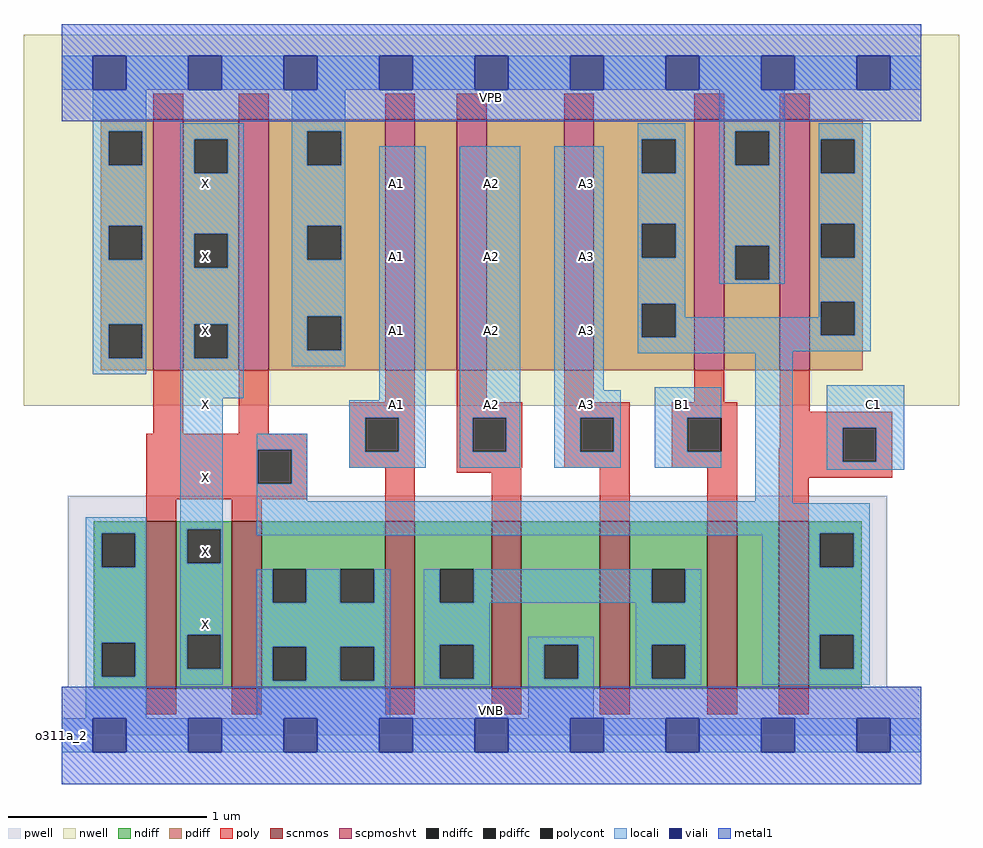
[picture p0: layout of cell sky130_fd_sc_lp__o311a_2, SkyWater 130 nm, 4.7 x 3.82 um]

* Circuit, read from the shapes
.subckt sky130_fd_sc_lp__o311a_2 A1 A2 A3 B1 C1 VGND VNB VPB VPWR X
XM1 X n1 VGND VNB sky130_fd_pr__nfet_01v8 w=0.84 l=0.15 m=2
XM2 n2 A1 VGND VNB sky130_fd_pr__nfet_01v8 w=0.84 l=0.15
XM3 VGND A2 n2 VNB sky130_fd_pr__nfet_01v8 w=0.84 l=0.15
XM4 n2 A3 VGND VNB sky130_fd_pr__nfet_01v8 w=0.84 l=0.15
XM5 n3 B1 n2 VNB sky130_fd_pr__nfet_01v8 w=0.84 l=0.15
XM6 n1 C1 n3 VNB sky130_fd_pr__nfet_01v8 w=0.84 l=0.15
XM7 X n1 VPWR VPB sky130_fd_pr__pfet_01v8_hvt w=1.26 l=0.15 m=2
XM8 n4 A1 VPWR VPB sky130_fd_pr__pfet_01v8_hvt w=1.26 l=0.15
XM9 n5 A2 n4 VPB sky130_fd_pr__pfet_01v8_hvt w=1.26 l=0.15
XM10 n1 A3 n5 VPB sky130_fd_pr__pfet_01v8_hvt w=1.26 l=0.15
XM11 VPWR B1 n1 VPB sky130_fd_pr__pfet_01v8_hvt w=1.26 l=0.15
XM12 n1 C1 VPWR VPB sky130_fd_pr__pfet_01v8_hvt w=1.26 l=0.15
.ends

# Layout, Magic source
magic
tech sky130A
magscale 1 2
<< nwell >>
rect -38 331 902 704
<< pwell >>
rect 6 49 830 241
rect 0 0 864 49
<< scnmos >>
rect 85 47 115 215
rect 171 47 201 215
rect 325 47 355 215
rect 432 47 462 215
rect 541 47 571 215
rect 649 47 679 215
rect 721 47 751 215
<< scpmoshvt >>
rect 92 367 122 619
rect 178 367 208 619
rect 325 367 355 619
rect 397 367 427 619
rect 505 367 535 619
rect 636 367 666 619
rect 722 367 752 619
<< ndiff >>
rect 32 203 85 215
rect 32 169 40 203
rect 74 169 85 203
rect 32 93 85 169
rect 32 59 40 93
rect 74 59 85 93
rect 32 47 85 59
rect 115 207 171 215
rect 115 173 126 207
rect 160 173 171 207
rect 115 101 171 173
rect 115 67 126 101
rect 160 67 171 101
rect 115 47 171 67
rect 201 167 325 215
rect 201 133 212 167
rect 246 133 280 167
rect 314 133 325 167
rect 201 89 325 133
rect 201 55 212 89
rect 246 55 280 89
rect 314 55 325 89
rect 201 47 325 55
rect 355 167 432 215
rect 355 133 380 167
rect 414 133 432 167
rect 355 91 432 133
rect 355 57 380 91
rect 414 57 432 91
rect 355 47 432 57
rect 462 91 541 215
rect 462 57 485 91
rect 519 57 541 91
rect 462 47 541 57
rect 571 167 649 215
rect 571 133 593 167
rect 627 133 649 167
rect 571 91 649 133
rect 571 57 593 91
rect 627 57 649 91
rect 571 47 649 57
rect 679 47 721 215
rect 751 203 804 215
rect 751 169 762 203
rect 796 169 804 203
rect 751 101 804 169
rect 751 67 762 101
rect 796 67 804 101
rect 751 47 804 67
<< pdiff >>
rect 39 607 92 619
rect 39 573 47 607
rect 81 573 92 607
rect 39 512 92 573
rect 39 478 47 512
rect 81 478 92 512
rect 39 413 92 478
rect 39 379 47 413
rect 81 379 92 413
rect 39 367 92 379
rect 122 599 178 619
rect 122 565 133 599
rect 167 565 178 599
rect 122 504 178 565
rect 122 470 133 504
rect 167 470 178 504
rect 122 413 178 470
rect 122 379 133 413
rect 167 379 178 413
rect 122 367 178 379
rect 208 607 325 619
rect 208 573 247 607
rect 281 573 325 607
rect 208 512 325 573
rect 208 478 247 512
rect 281 478 325 512
rect 208 421 325 478
rect 208 387 247 421
rect 281 387 325 421
rect 208 367 325 387
rect 355 367 397 619
rect 427 367 505 619
rect 535 599 636 619
rect 535 565 583 599
rect 617 565 636 599
rect 535 514 636 565
rect 535 480 583 514
rect 617 480 636 514
rect 535 434 636 480
rect 535 400 583 434
rect 617 400 636 434
rect 535 367 636 400
rect 666 607 722 619
rect 666 573 677 607
rect 711 573 722 607
rect 666 492 722 573
rect 666 458 677 492
rect 711 458 722 492
rect 666 367 722 458
rect 752 599 805 619
rect 752 565 763 599
rect 797 565 805 599
rect 752 514 805 565
rect 752 480 763 514
rect 797 480 805 514
rect 752 436 805 480
rect 752 402 763 436
rect 797 402 805 436
rect 752 367 805 402
<< ndiffc >>
rect 40 169 74 203
rect 40 59 74 93
rect 126 173 160 207
rect 126 67 160 101
rect 212 133 246 167
rect 280 133 314 167
rect 212 55 246 89
rect 280 55 314 89
rect 380 133 414 167
rect 380 57 414 91
rect 485 57 519 91
rect 593 133 627 167
rect 593 57 627 91
rect 762 169 796 203
rect 762 67 796 101
<< pdiffc >>
rect 47 573 81 607
rect 47 478 81 512
rect 47 379 81 413
rect 133 565 167 599
rect 133 470 167 504
rect 133 379 167 413
rect 247 573 281 607
rect 247 478 281 512
rect 247 387 281 421
rect 583 565 617 599
rect 583 480 617 514
rect 583 400 617 434
rect 677 573 711 607
rect 677 458 711 492
rect 763 565 797 599
rect 763 480 797 514
rect 763 402 797 436
<< poly >>
rect 92 619 122 645
rect 178 619 208 645
rect 325 619 355 645
rect 397 619 427 645
rect 505 619 535 645
rect 636 619 666 645
rect 722 619 752 645
rect 92 303 122 367
rect 178 303 208 367
rect 325 335 355 367
rect 289 319 355 335
rect 85 287 247 303
rect 85 253 197 287
rect 231 253 247 287
rect 289 285 305 319
rect 339 285 355 319
rect 289 269 355 285
rect 85 237 247 253
rect 85 215 115 237
rect 171 215 201 237
rect 325 215 355 269
rect 397 335 427 367
rect 505 335 535 367
rect 636 335 666 367
rect 397 319 463 335
rect 397 285 413 319
rect 447 285 463 319
rect 397 269 463 285
rect 505 319 571 335
rect 505 285 521 319
rect 555 285 571 319
rect 505 269 571 285
rect 613 319 679 335
rect 613 285 629 319
rect 663 285 679 319
rect 722 325 752 367
rect 722 309 835 325
rect 722 289 785 309
rect 613 269 679 285
rect 397 264 462 269
rect 432 215 462 264
rect 541 215 571 269
rect 649 215 679 269
rect 721 275 785 289
rect 819 275 835 309
rect 721 259 835 275
rect 721 215 751 259
rect 85 21 115 47
rect 171 21 201 47
rect 325 21 355 47
rect 432 21 462 47
rect 541 21 571 47
rect 649 21 679 47
rect 721 21 751 47
<< polycont >>
rect 197 253 231 287
rect 305 285 339 319
rect 413 285 447 319
rect 521 285 555 319
rect 629 285 663 319
rect 785 275 819 309
<< locali >>
rect 0 649 31 683
rect 65 649 127 683
rect 161 649 223 683
rect 257 649 319 683
rect 353 649 415 683
rect 449 649 511 683
rect 545 649 607 683
rect 641 649 703 683
rect 737 649 799 683
rect 833 649 864 683
rect 31 607 85 649
rect 31 573 47 607
rect 81 573 85 607
rect 31 512 85 573
rect 31 478 47 512
rect 81 478 85 512
rect 31 413 85 478
rect 31 379 47 413
rect 81 379 85 413
rect 31 363 85 379
rect 119 599 183 615
rect 119 565 133 599
rect 167 565 183 599
rect 119 504 183 565
rect 119 470 133 504
rect 167 470 183 504
rect 119 413 183 470
rect 119 379 133 413
rect 167 379 183 413
rect 119 339 183 379
rect 231 607 285 649
rect 231 573 247 607
rect 281 573 285 607
rect 579 599 627 615
rect 231 512 285 573
rect 231 478 247 512
rect 281 478 285 512
rect 231 421 285 478
rect 231 387 247 421
rect 281 387 285 421
rect 231 371 285 387
rect 24 203 85 219
rect 24 169 40 203
rect 74 169 85 203
rect 24 93 85 169
rect 24 59 40 93
rect 74 59 85 93
rect 24 17 85 59
rect 119 207 162 339
rect 319 337 366 592
rect 289 319 366 337
rect 119 173 126 207
rect 160 173 162 207
rect 196 287 247 303
rect 196 253 197 287
rect 231 253 247 287
rect 289 285 305 319
rect 339 285 366 319
rect 289 269 366 285
rect 400 319 461 592
rect 400 285 413 319
rect 447 285 461 319
rect 400 269 461 285
rect 495 347 545 592
rect 579 565 583 599
rect 617 565 627 599
rect 579 514 627 565
rect 579 480 583 514
rect 617 480 627 514
rect 579 434 627 480
rect 661 607 727 649
rect 661 573 677 607
rect 711 573 727 607
rect 661 492 727 573
rect 661 458 677 492
rect 711 458 727 492
rect 661 454 727 458
rect 761 599 813 615
rect 761 565 763 599
rect 797 565 813 599
rect 761 514 813 565
rect 761 480 763 514
rect 797 480 813 514
rect 579 400 583 434
rect 617 420 627 434
rect 761 436 813 480
rect 761 420 763 436
rect 617 402 763 420
rect 797 402 813 436
rect 617 400 813 402
rect 579 386 813 400
rect 579 384 735 386
rect 495 319 562 347
rect 495 285 521 319
rect 555 285 562 319
rect 495 269 562 285
rect 596 319 663 350
rect 596 285 629 319
rect 596 269 663 285
rect 196 235 247 253
rect 697 235 735 384
rect 769 309 847 352
rect 769 275 785 309
rect 819 275 847 309
rect 769 267 847 275
rect 196 233 735 235
rect 196 203 812 233
rect 196 201 762 203
rect 119 101 162 173
rect 704 169 762 201
rect 796 169 812 203
rect 119 67 126 101
rect 160 67 162 101
rect 119 51 162 67
rect 196 133 212 167
rect 246 133 280 167
rect 314 133 330 167
rect 196 89 330 133
rect 196 55 212 89
rect 246 55 280 89
rect 314 55 330 89
rect 196 17 330 55
rect 364 133 380 167
rect 414 133 593 167
rect 627 133 643 167
rect 364 91 430 133
rect 364 57 380 91
rect 414 57 430 91
rect 364 51 430 57
rect 469 91 535 99
rect 469 57 485 91
rect 519 57 535 91
rect 469 17 535 57
rect 577 91 643 133
rect 577 57 593 91
rect 627 57 643 91
rect 577 51 643 57
rect 704 101 812 169
rect 704 67 762 101
rect 796 67 812 101
rect 704 51 812 67
rect 0 -17 31 17
rect 65 -17 127 17
rect 161 -17 223 17
rect 257 -17 319 17
rect 353 -17 415 17
rect 449 -17 511 17
rect 545 -17 607 17
rect 641 -17 703 17
rect 737 -17 799 17
rect 833 -17 864 17
<< viali >>
rect 31 649 65 683
rect 127 649 161 683
rect 223 649 257 683
rect 319 649 353 683
rect 415 649 449 683
rect 511 649 545 683
rect 607 649 641 683
rect 703 649 737 683
rect 799 649 833 683
rect 31 -17 65 17
rect 127 -17 161 17
rect 223 -17 257 17
rect 319 -17 353 17
rect 415 -17 449 17
rect 511 -17 545 17
rect 607 -17 641 17
rect 703 -17 737 17
rect 799 -17 833 17
<< metal1 >>
rect 0 683 864 715
rect 0 649 31 683
rect 65 649 127 683
rect 161 649 223 683
rect 257 649 319 683
rect 353 649 415 683
rect 449 649 511 683
rect 545 649 607 683
rect 641 649 703 683
rect 737 649 799 683
rect 833 649 864 683
rect 0 617 864 649
rect 0 17 864 49
rect 0 -17 31 17
rect 65 -17 127 17
rect 161 -17 223 17
rect 257 -17 319 17
rect 353 -17 415 17
rect 449 -17 511 17
rect 545 -17 607 17
rect 641 -17 703 17
rect 737 -17 799 17
rect 833 -17 864 17
rect 0 -49 864 -17
<< labels >>
flabel pwell s 0 0 864 49 0 FreeSans 200 0 0 0 VNB
port 7 nsew ground bidirectional
flabel nwell s 0 617 864 666 0 FreeSans 200 0 0 0 VPB
port 8 nsew power bidirectional
rlabel comment s 0 0 0 0 4 o311a_2
flabel metal1 s 0 617 864 666 0 FreeSans 340 0 0 0 VPWR
port 9 nsew power bidirectional
flabel metal1 s 0 0 864 49 0 FreeSans 340 0 0 0 VGND
port 6 nsew ground bidirectional
flabel locali s 127 94 161 128 0 FreeSans 340 0 0 0 X
port 10 nsew signal output
flabel locali s 127 168 161 202 0 FreeSans 340 0 0 0 X
port 10 nsew signal output
flabel locali s 127 242 161 276 0 FreeSans 340 0 0 0 X
port 10 nsew signal output
flabel locali s 127 316 161 350 0 FreeSans 340 0 0 0 X
port 10 nsew signal output
flabel locali s 127 390 161 424 0 FreeSans 340 0 0 0 X
port 10 nsew signal output
flabel locali s 127 464 161 498 0 FreeSans 340 0 0 0 X
port 10 nsew signal output
flabel locali s 127 538 161 572 0 FreeSans 340 0 0 0 X
port 10 nsew signal output
flabel locali s 319 316 353 350 0 FreeSans 340 0 0 0 A1
port 1 nsew signal input
flabel locali s 319 390 353 424 0 FreeSans 340 0 0 0 A1
port 1 nsew signal input
flabel locali s 319 464 353 498 0 FreeSans 340 0 0 0 A1
port 1 nsew signal input
flabel locali s 319 538 353 572 0 FreeSans 340 0 0 0 A1
port 1 nsew signal input
flabel locali s 415 316 449 350 0 FreeSans 340 0 0 0 A2
port 2 nsew signal input
flabel locali s 415 390 449 424 0 FreeSans 340 0 0 0 A2
port 2 nsew signal input
flabel locali s 415 464 449 498 0 FreeSans 340 0 0 0 A2
port 2 nsew signal input
flabel locali s 415 538 449 572 0 FreeSans 340 0 0 0 A2
port 2 nsew signal input
flabel locali s 511 316 545 350 0 FreeSans 340 0 0 0 A3
port 3 nsew signal input
flabel locali s 511 390 545 424 0 FreeSans 340 0 0 0 A3
port 3 nsew signal input
flabel locali s 511 464 545 498 0 FreeSans 340 0 0 0 A3
port 3 nsew signal input
flabel locali s 511 538 545 572 0 FreeSans 340 0 0 0 A3
port 3 nsew signal input
flabel locali s 607 316 641 350 0 FreeSans 340 0 0 0 B1
port 4 nsew signal input
flabel locali s 799 316 833 350 0 FreeSans 340 0 0 0 C1
port 5 nsew signal input
<< properties >>
string LEFsite unit
string LEFclass CORE
string FIXED_BBOX 0 0 864 666
string GDS_FILE $PDKPATH/libs.ref/sky130_fd_sc_lp/gds/sky130_fd_sc_lp.gds
string LEFsymmetry X Y R90
string GDS_END 4416076
string GDS_START 4406744
<< end >>
